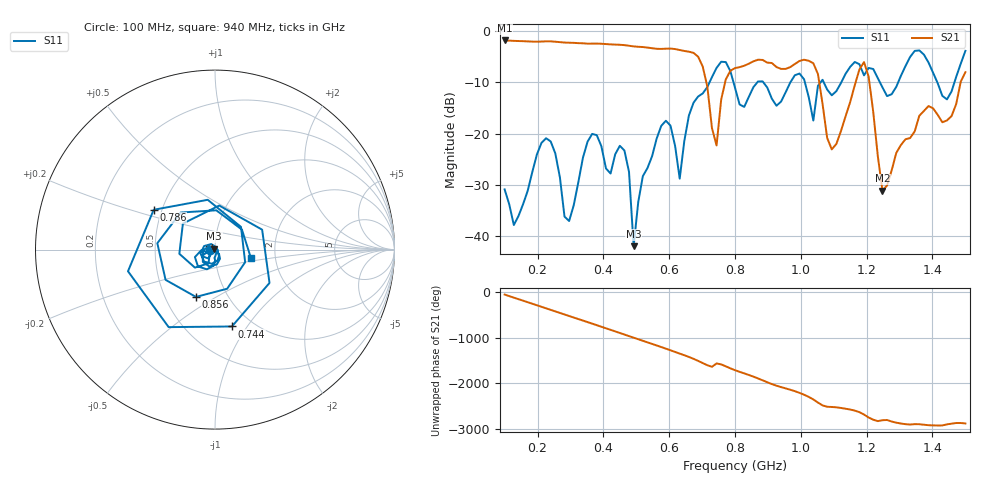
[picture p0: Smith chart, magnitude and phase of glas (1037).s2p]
! NanoVNA-App
! Date: 2025-09-25 16:03:32
! Start: 100MHz Stop: 1,5GHz Points: 101
! S-Parameter data: F S11 S21 S12 S22
# Hz S RI R 50
!  Frequency  S11_Real  S11_Imag  S21_Real  S21_Imag  S12_Real  S12_Imag  S22_Real  S22_Imag
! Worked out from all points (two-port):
!   101 points, 100 MHz to 1.5 GHz, reference 50 ohm
!   highest |S21| = -1.80 dB at 100 MHz (marker M1); lowest = -31.2 dB at 1.248 GHz (marker M2)
!   |S21| within 3 dB of the highest: start of sweep to 684.5 MHz
!   lowest |S11| = -42.0 dB at 492 MHz (marker M3), VSWR 1.02, Z = 49.5 + j0.6 ohm
!   |S11| at or under -10 dB: start of sweep to 722.5 MHz; 795.5 MHz to 867.7 MHz (72.21 MHz wide, 8.68 % of centre); 886.2 MHz to 968.1 MHz (81.86 MHz wide, 8.83 % of centre) (the widest 3 of 7)
!   S12 and S22 are empty: the file has one direction only
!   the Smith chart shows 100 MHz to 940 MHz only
!   S11 on the Smith chart (normalised r, x): 100 MHz: 0.94, -0.01; 744 MHz: 0.80, -0.85; 786 MHz: 0.45, +0.24; 856 MHz: 0.71, -0.41; 940 MHz: 1.49, -0.15
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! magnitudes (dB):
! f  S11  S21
! 100 MHz  -30.9  -1.8
! 128 MHz  -37.9  -1.9
! 226 MHz  -20.9  -2.0
! 296 MHz  -37.1  -2.2
! 338 MHz  -24.7  -2.4
! 464 MHz  -23.3  -2.7
! 492 MHz  -42.0  -3.0
! 576 MHz  -18.5  -3.5
! 632 MHz  -28.8  -3.7
! 702 MHz  -12.2  -6.9
! 744 MHz  -7.2  -22.3
! 786 MHz  -7.8  -7.7
! 800 MHz  -11.0  -7.2
! 856 MHz  -10.9  -5.9
! 940 MHz  -13.7  -7.4
! 996 MHz  -8.3  -5.8
! 1.038 GHz  -17.5  -6.3
! 1.094 GHz  -12.5  -23.1
! 1.192 GHz  -8.6  -6.0
! 1.248 GHz  -11.0  -31.2
! 1.276 GHz  -12.3  -27.2
! 1.5 GHz  -3.8  -8.0
